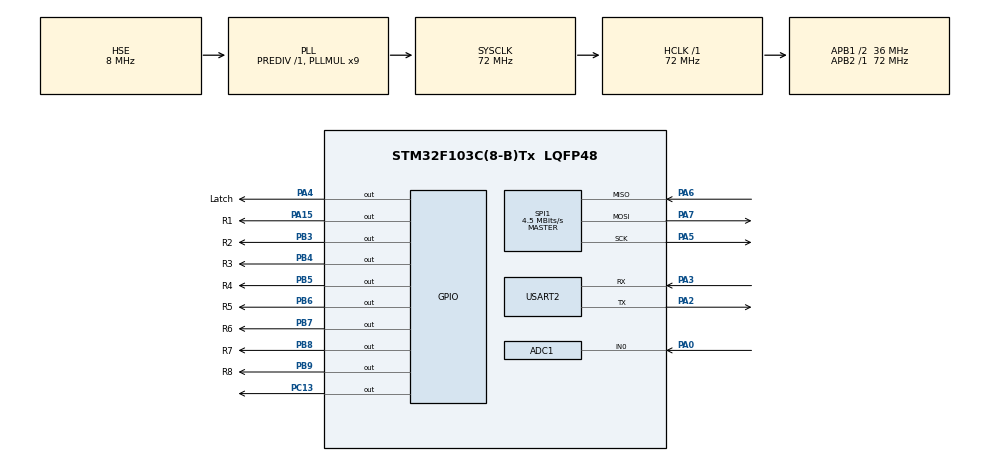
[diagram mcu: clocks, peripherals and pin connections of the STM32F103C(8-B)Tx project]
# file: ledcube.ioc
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ADC1.Channel-0\#ChannelRegularConversion=ADC_CHANNEL_0
ADC1.ContinuousConvMode=ENABLE
ADC1.NbrOfConversionFlag=1
ADC1.Rank-0\#ChannelRegularConversion=1
ADC1.SamplingTime-0\#ChannelRegularConversion=ADC_SAMPLETIME_1CYCLE_5
ADC1.master=1
Dma.ADC1.0.Direction=DMA_PERIPH_TO_MEMORY
Dma.ADC1.0.Instance=DMA1_Channel1
Dma.ADC1.0.MemDataAlignment=DMA_MDATAALIGN_HALFWORD
Dma.ADC1.0.MemInc=DMA_MINC_ENABLE
Dma.ADC1.0.Mode=DMA_CIRCULAR
Dma.ADC1.0.PeriphDataAlignment=DMA_PDATAALIGN_HALFWORD
Dma.ADC1.0.PeriphInc=DMA_PINC_DISABLE
Dma.ADC1.0.Priority=DMA_PRIORITY_LOW
Dma.Request0=ADC1
Mcu.Family=STM32F1
Mcu.Name=STM32F103C(8-B)Tx
Mcu.Package=LQFP48
NVIC.DMA1_Channel1_IRQn=true\:0\:0\:false\:false\:true\:false\:true\:true
NVIC.PriorityGroup=NVIC_PRIORITYGROUP_4
NVIC.TIM2_IRQn=true\:0\:0\:false\:false\:true\:true\:true\:true
NVIC.USART2_IRQn=true\:0\:0\:false\:false\:true\:true\:true\:true
PA0-WKUP.Signal=ADCx_IN0
PA13.Mode=Serial_Wire
PA13.Signal=SYS_JTMS-SWDIO
PA14.Mode=Serial_Wire
PA14.Signal=SYS_JTCK-SWCLK
PA15.GPIO_Label=R1
PA15.GPIO_Speed=GPIO_SPEED_FREQ_MEDIUM
PA15.PinState=GPIO_PIN_RESET
PA15.Signal=GPIO_Output
PA2.Mode=Asynchronous
PA2.Signal=USART2_TX
PA3.Mode=Asynchronous
PA3.Signal=USART2_RX
PA4.GPIO_Label=Latch
PA4.GPIO_Speed=GPIO_SPEED_FREQ_LOW
PA4.PinState=GPIO_PIN_RESET
PA4.Signal=GPIO_Output
PA5.Mode=Full_Duplex_Master
PA5.Signal=SPI1_SCK
PA6.Mode=Full_Duplex_Master
PA6.Signal=SPI1_MISO
PA7.Mode=Full_Duplex_Master
PA7.Signal=SPI1_MOSI
PB3.GPIO_Label=R2
PB3.GPIO_Speed=GPIO_SPEED_FREQ_MEDIUM
PB3.PinState=GPIO_PIN_RESET
PB3.Signal=GPIO_Output
PB4.GPIO_Label=R3
PB4.GPIO_Speed=GPIO_SPEED_FREQ_MEDIUM
PB4.PinState=GPIO_PIN_RESET
PB4.Signal=GPIO_Output
PB5.GPIO_Label=R4
PB5.GPIO_Speed=GPIO_SPEED_FREQ_MEDIUM
PB5.PinState=GPIO_PIN_RESET
PB5.Signal=GPIO_Output
PB6.GPIO_Label=R5
PB6.GPIO_Speed=GPIO_SPEED_FREQ_MEDIUM
PB6.PinState=GPIO_PIN_RESET
PB6.Signal=GPIO_Output
PB7.GPIO_Label=R6
PB7.GPIO_Speed=GPIO_SPEED_FREQ_MEDIUM
PB7.PinState=GPIO_PIN_RESET
PB7.Signal=GPIO_Output
PB8.GPIO_Label=R7
PB8.GPIO_Speed=GPIO_SPEED_FREQ_MEDIUM
PB8.PinState=GPIO_PIN_RESET
PB8.Signal=GPIO_Output
PB9.GPIO_Label=R8
PB9.GPIO_Speed=GPIO_SPEED_FREQ_MEDIUM
PB9.PinState=GPIO_PIN_RESET
PB9.Signal=GPIO_Output
PC13-TAMPER-RTC.Signal=GPIO_Output
PD0-OSC_IN.Mode=HSE-External-Oscillator
PD0-OSC_IN.Signal=RCC_OSC_IN
PD1-OSC_OUT.Mode=HSE-External-Oscillator
PD1-OSC_OUT.Signal=RCC_OSC_OUT
ProjectManager.HeapSize=0x200
ProjectManager.StackSize=0x400
ProjectManager.TargetToolchain=STM32CubeIDE
RCC.ADCPresc=RCC_ADCPCLK2_DIV6
RCC.AHBFreq_Value=72000000
RCC.APB1CLKDivider=RCC_HCLK_DIV2
RCC.APB1Freq_Value=36000000
RCC.APB1TimFreq_Value=72000000
RCC.APB2Freq_Value=72000000
RCC.APB2TimFreq_Value=72000000
RCC.HCLKFreq_Value=72000000
RCC.PLLMUL=RCC_PLL_MUL9
RCC.PLLSourceVirtual=RCC_PLLSOURCE_HSE
RCC.SYSCLKFreq_VALUE=72000000
RCC.SYSCLKSource=RCC_SYSCLKSOURCE_PLLCLK
RCC.USBFreq_Value=72000000
SH.ADCx_IN0.0=ADC1_IN0,IN0
SPI1.BaudRatePrescaler=SPI_BAUDRATEPRESCALER_16
SPI1.CalculateBaudRate=4.5 MBits/s
SPI1.Direction=SPI_DIRECTION_2LINES
SPI1.Mode=SPI_MODE_MASTER
SPI1.VirtualType=VM_MASTER
TIM2.Period=9
TIM2.Prescaler=7199
USART2.VirtualMode=VM_ASYNC
VP_TIM2_VS_ClockSourceINT.Mode=Internal
board=custom

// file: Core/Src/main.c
/* USER CODE BEGIN Header */
/**
 ******************************************************************************
 * @file           : main.c
 * @brief          : Main program body
 ******************************************************************************
 * @attention
 *
 * Copyright (c) 2026 STMicroelectronics.
 * All rights reserved.
 *
 * This software is licensed under terms that can be found in the LICENSE file
 * in the root directory of this software component.
 * If no LICENSE file comes with this software, it is provided AS-IS.
 *
 ******************************************************************************
 */
/* USER CODE END Header */
#include <app_comms.h>
#include <display_led.h>
#include <effects_manager.h>
#include <string.h>
#include "main.h"
/* USER CODE BEGIN Includes */
#include "min.h"

#include "min_port.h"
/* USER CODE END Includes */

/* USER CODE BEGIN PD */
#define STATUS_LED_PIN  GPIO_PIN_13
#define STATUS_LED_PORT GPIOC
/* USER CODE END PD */

ADC_HandleTypeDef hadc1;
DMA_HandleTypeDef hdma_adc1;

SPI_HandleTypeDef hspi1;

TIM_HandleTypeDef htim2;

UART_HandleTypeDef huart2;

/* USER CODE BEGIN PV */
uint8_t last_app_mode = 255;
uint8_t cube_buffer[8][8];

GPIO_TypeDef *LAYER_PORTS[8] = {GPIOB, GPIOB, GPIOB, GPIOB, GPIOB, GPIOB, GPIOB, GPIOA};
uint16_t      LAYER_PINS[8]
    = {GPIO_PIN_9, GPIO_PIN_8, GPIO_PIN_7, GPIO_PIN_6, GPIO_PIN_5, GPIO_PIN_4, GPIO_PIN_3, GPIO_PIN_15};

uint32_t last_effect_tick = 0;
/* USER CODE END PV */

void        SystemClock_Config(void);
static void MX_GPIO_Init(void);
static void MX_DMA_Init(void);
static void MX_ADC1_Init(void);
static void MX_SPI1_Init(void);
static void MX_USART2_UART_Init(void);
static void MX_TIM2_Init(void);
/* USER CODE BEGIN PFP */
void Cube_Refresh(void);
void Clear_Cube(void);
void Set_Voxel(uint8_t x, uint8_t y, uint8_t z, uint8_t state);

// Khai báo prototype các hàm hiệu ứng
void Effect_Rain_Run(uint16_t speed);
void Effect_Scan_Columns_Run(uint16_t speed);
/* USER CODE END PFP */

/* USER CODE BEGIN 0 */
#ifdef __GNUC__
int _write(int file, char *ptr, int len)
{
    return len;
}
#endif
/* USER CODE END 0 */

int main(void)
{

    /* MCU Configuration--------------------------------------------------------*/

    /* Reset of all peripherals, Initializes the Flash interface and the Systick. */
    HAL_Init();

    /* Configure the system clock */
    SystemClock_Config();

    /* Initialize all configured peripherals */
    MX_GPIO_Init();
    MX_DMA_Init();
    MX_ADC1_Init();
    MX_SPI1_Init();
    MX_USART2_UART_Init();
    MX_TIM2_Init();
    /* USER CODE BEGIN 2 */
    __HAL_RCC_AFIO_CLK_ENABLE();
    __HAL_AFIO_REMAP_SWJ_NOJTAG();

    App_Comms_Init();
    Effects_Manager_Init();
    Clear_Cube();
    Set_Voxel(0, 0, 0, 1);
    /* USER CODE END 2 */

    /* Infinite loop */
    while (1)
    {

        /* USER CODE BEGIN 3 */
        Cube_Refresh();

        extern volatile uint8_t current_mode;
        // extern volatile uint16_t current_speed;

        if (current_mode != last_app_mode)
        {
            Effects_Manager_SetMode((CubeMode_t)current_mode);
            last_app_mode = current_mode;
        }

        Effects_Manager_Run();
    }
    /* USER CODE END 3 */
}

void SystemClock_Config(void)
{
    RCC_OscInitTypeDef       RCC_OscInitStruct = {0};
    RCC_ClkInitTypeDef       RCC_ClkInitStruct = {0};
    RCC_PeriphCLKInitTypeDef PeriphClkInit     = {0};

    /** Initializes the RCC Oscillators according to the specified parameters
     * in the RCC_OscInitTypeDef structure.
     */
    RCC_OscInitStruct.OscillatorType = RCC_OSCILLATORTYPE_HSE;
    RCC_OscInitStruct.HSEState       = RCC_HSE_ON;
    RCC_OscInitStruct.HSEPredivValue = RCC_HSE_PREDIV_DIV1;
    RCC_OscInitStruct.HSIState       = RCC_HSI_ON;
    RCC_OscInitStruct.PLL.PLLState   = RCC_PLL_ON;
    RCC_OscInitStruct.PLL.PLLSource  = RCC_PLLSOURCE_HSE;
    RCC_OscInitStruct.PLL.PLLMUL     = RCC_PLL_MUL9;
    if (HAL_RCC_OscConfig(&RCC_OscInitStruct) != HAL_OK)
    {
        Error_Handler();
    }

    /** Initializes the CPU, AHB and APB buses clocks
     */
    RCC_ClkInitStruct.ClockType = RCC_CLOCKTYPE_HCLK | RCC_CLOCKTYPE_SYSCLK | RCC_CLOCKTYPE_PCLK1 | RCC_CLOCKTYPE_PCLK2;
    RCC_ClkInitStruct.SYSCLKSource   = RCC_SYSCLKSOURCE_PLLCLK;
    RCC_ClkInitStruct.AHBCLKDivider  = RCC_SYSCLK_DIV1;
    RCC_ClkInitStruct.APB1CLKDivider = RCC_HCLK_DIV2;
    RCC_ClkInitStruct.APB2CLKDivider = RCC_HCLK_DIV1;

    if (HAL_RCC_ClockConfig(&RCC_ClkInitStruct, FLASH_LATENCY_2) != HAL_OK)
    {
        Error_Handler();
    }
    PeriphClkInit.PeriphClockSelection = RCC_PERIPHCLK_ADC;
    PeriphClkInit.AdcClockSelection    = RCC_ADCPCLK2_DIV6;
    if (HAL_RCCEx_PeriphCLKConfig(&PeriphClkInit) != HAL_OK)
    {
        Error_Handler();
    }
}

static void MX_ADC1_Init(void)
{

    ADC_ChannelConfTypeDef sConfig = {0};

    /** Common config
     */
    hadc1.Instance                   = ADC1;
    hadc1.Init.ScanConvMode          = ADC_SCAN_DISABLE;
    hadc1.Init.ContinuousConvMode    = ENABLE;
    hadc1.Init.DiscontinuousConvMode = DISABLE;
    hadc1.Init.ExternalTrigConv      = ADC_SOFTWARE_START;
    hadc1.Init.DataAlign             = ADC_DATAALIGN_RIGHT;
    hadc1.Init.NbrOfConversion       = 1;
    if (HAL_ADC_Init(&hadc1) != HAL_OK)
    {
        Error_Handler();
    }

    /** Configure Regular Channel
     */
    sConfig.Channel      = ADC_CHANNEL_0;
    sConfig.Rank         = ADC_REGULAR_RANK_1;
    sConfig.SamplingTime = ADC_SAMPLETIME_1CYCLE_5;
    if (HAL_ADC_ConfigChannel(&hadc1, &sConfig) != HAL_OK)
    {
        Error_Handler();
    }
}

static void MX_SPI1_Init(void)
{

    /* SPI1 parameter configuration*/
    hspi1.Instance               = SPI1;
    hspi1.Init.Mode              = SPI_MODE_MASTER;
    hspi1.Init.Direction         = SPI_DIRECTION_2LINES;
    hspi1.Init.DataSize          = SPI_DATASIZE_8BIT;
    hspi1.Init.CLKPolarity       = SPI_POLARITY_LOW;
    hspi1.Init.CLKPhase          = SPI_PHASE_1EDGE;
    hspi1.Init.NSS               = SPI_NSS_SOFT;
    hspi1.Init.BaudRatePrescaler = SPI_BAUDRATEPRESCALER_16;
    hspi1.Init.FirstBit          = SPI_FIRSTBIT_MSB;
    hspi1.Init.TIMode            = SPI_TIMODE_DISABLE;
    hspi1.Init.CRCCalculation    = SPI_CRCCALCULATION_DISABLE;
    hspi1.Init.CRCPolynomial     = 10;
    if (HAL_SPI_Init(&hspi1) != HAL_OK)
    {
        Error_Handler();
    }
}

static void MX_TIM2_Init(void)
{

    TIM_ClockConfigTypeDef  sClockSourceConfig = {0};
    TIM_MasterConfigTypeDef sMasterConfig      = {0};

    htim2.Instance               = TIM2;
    htim2.Init.Prescaler         = 7199;
    htim2.Init.CounterMode       = TIM_COUNTERMODE_UP;
    htim2.Init.Period            = 9;
    htim2.Init.ClockDivision     = TIM_CLOCKDIVISION_DIV1;
    htim2.Init.AutoReloadPreload = TIM_AUTORELOAD_PRELOAD_DISABLE;
    if (HAL_TIM_Base_Init(&htim2) != HAL_OK)
    {
        Error_Handler();
    }
    sClockSourceConfig.ClockSource = TIM_CLOCKSOURCE_INTERNAL;
    if (HAL_TIM_ConfigClockSource(&htim2, &sClockSourceConfig) != HAL_OK)
    {
        Error_Handler();
    }
    sMasterConfig.MasterOutputTrigger = TIM_TRGO_RESET;
    sMasterConfig.MasterSlaveMode     = TIM_MASTERSLAVEMODE_DISABLE;
    if (HAL_TIMEx_MasterConfigSynchronization(&htim2, &sMasterConfig) != HAL_OK)
    {
        Error_Handler();
    }
}

static void MX_USART2_UART_Init(void)
{

    huart2.Instance          = USART2;
    huart2.Init.BaudRate     = 115200;
    huart2.Init.WordLength   = UART_WORDLENGTH_8B;
    huart2.Init.StopBits     = UART_STOPBITS_1;
    huart2.Init.Parity       = UART_PARITY_NONE;
    huart2.Init.Mode         = UART_MODE_TX_RX;
    huart2.Init.HwFlowCtl    = UART_HWCONTROL_NONE;
    huart2.Init.OverSampling = UART_OVERSAMPLING_16;
    if (HAL_UART_Init(&huart2) != HAL_OK)
    {
        Error_Handler();
    }
}

static void MX_DMA_Init(void)
{

    /* DMA controller clock enable */
    __HAL_RCC_DMA1_CLK_ENABLE();

    /* DMA interrupt init */
    /* DMA1_Channel1_IRQn interrupt configuration */
    HAL_NVIC_SetPriority(DMA1_Channel1_IRQn, 0, 0);
    HAL_NVIC_EnableIRQ(DMA1_Channel1_IRQn);
}

static void MX_GPIO_Init(void)
{
    GPIO_InitTypeDef GPIO_InitStruct = {0};

    /* GPIO Ports Clock Enable */
    __HAL_RCC_GPIOC_CLK_ENABLE();
    __HAL_RCC_GPIOD_CLK_ENABLE();
    __HAL_RCC_GPIOA_CLK_ENABLE();
    __HAL_RCC_GPIOB_CLK_ENABLE();

    /*Configure GPIO pin Output Level */
    HAL_GPIO_WritePin(GPIOC, GPIO_PIN_13, GPIO_PIN_RESET);

    /*Configure GPIO pin Output Level */
    HAL_GPIO_WritePin(GPIOA, Latch_Pin | R1_Pin, GPIO_PIN_RESET);

    /*Configure GPIO pin Output Level */
    HAL_GPIO_WritePin(GPIOB, R2_Pin | R3_Pin | R4_Pin | R5_Pin | R6_Pin | R7_Pin | R8_Pin, GPIO_PIN_RESET);

    /*Configure GPIO pin : PC13 */
    GPIO_InitStruct.Pin   = GPIO_PIN_13;
    GPIO_InitStruct.Mode  = GPIO_MODE_OUTPUT_PP;
    GPIO_InitStruct.Pull  = GPIO_NOPULL;
    GPIO_InitStruct.Speed = GPIO_SPEED_FREQ_LOW;
    HAL_GPIO_Init(GPIOC, &GPIO_InitStruct);

    /*Configure GPIO pin : Latch_Pin */
    GPIO_InitStruct.Pin   = Latch_Pin;
    GPIO_InitStruct.Mode  = GPIO_MODE_OUTPUT_PP;
    GPIO_InitStruct.Pull  = GPIO_NOPULL;
    GPIO_InitStruct.Speed = GPIO_SPEED_FREQ_LOW;
    HAL_GPIO_Init(Latch_GPIO_Port, &GPIO_InitStruct);

    /*Configure GPIO pin : R1_Pin */
    GPIO_InitStruct.Pin   = R1_Pin;
    GPIO_InitStruct.Mode  = GPIO_MODE_OUTPUT_PP;
    GPIO_InitStruct.Pull  = GPIO_NOPULL;
    GPIO_InitStruct.Speed = GPIO_SPEED_FREQ_MEDIUM;
    HAL_GPIO_Init(R1_GPIO_Port, &GPIO_InitStruct);

    /*Configure GPIO pins : R2_Pin R3_Pin R4_Pin R5_Pin
     R6_Pin R7_Pin R8_Pin */
    GPIO_InitStruct.Pin   = R2_Pin | R3_Pin | R4_Pin | R5_Pin | R6_Pin | R7_Pin | R8_Pin;
    GPIO_InitStruct.Mode  = GPIO_MODE_OUTPUT_PP;
    GPIO_InitStruct.Pull  = GPIO_NOPULL;
    GPIO_InitStruct.Speed = GPIO_SPEED_FREQ_MEDIUM;
    HAL_GPIO_Init(GPIOB, &GPIO_InitStruct);

}

/* USER CODE BEGIN 4 */
void Clear_Cube(void)
{
    memset(cube_buffer, 0, sizeof(cube_buffer));
}

// Function to turn on/off a single LED at speed (x,y,z)
void Set_Voxel(uint8_t x, uint8_t y, uint8_t z, uint8_t state)
{
    if (x > 7 || y > 7 || z > 7)
    {
        return;
    }
    if (state)
    {
        cube_buffer[z][y] |= (1 << x);
    }
    else
    {
        cube_buffer[z][y] &= ~(1 << x);
    }
}

// Function to send data to IC 74HC595
void Shift_Registers_Output(uint8_t *data_arr)
{
    HAL_SPI_Transmit(&hspi1, data_arr, 8, 10);
    HAL_GPIO_WritePin(GPIOA, GPIO_PIN_4, GPIO_PIN_SET);
    for (volatile int i = 0; i < 10; i++)
        ;
    HAL_GPIO_WritePin(GPIOA, GPIO_PIN_4, GPIO_PIN_RESET);
}

// Function to turn on the Z-layer and turn off other layers.
void Layer_On(uint8_t z)
{
    for (int i = 0; i < 8; i++)
    {
        HAL_GPIO_WritePin(LAYER_PORTS[i], LAYER_PINS[i], GPIO_PIN_RESET);
    }
    if (z < 8)
    {
        HAL_GPIO_WritePin(LAYER_PORTS[z], LAYER_PINS[z], GPIO_PIN_SET);
    }
}

// Multiplexing
void Cube_Refresh(void)
{
    static uint8_t current_layer = 0;
    Layer_On(8);
    Shift_Registers_Output(cube_buffer[current_layer]);
    Layer_On(current_layer);
    // HAL_Delay(2);
    current_layer++;
    if (current_layer >= 8)
    {
        current_layer = 0;
    }
}

void Delay_Effect(uint32_t ms)
{
    uint32_t start = HAL_GetTick();
    // Vòng lặp chờ: Trong lúc chờ vẫn phải quét LED liên tục
    while ((HAL_GetTick() - start) < ms)
    {
        Cube_Refresh();
    }
}
/* USER CODE END 4 */

void Error_Handler(void)
{
    __disable_irq();
    while (1)
    {
    }
}
